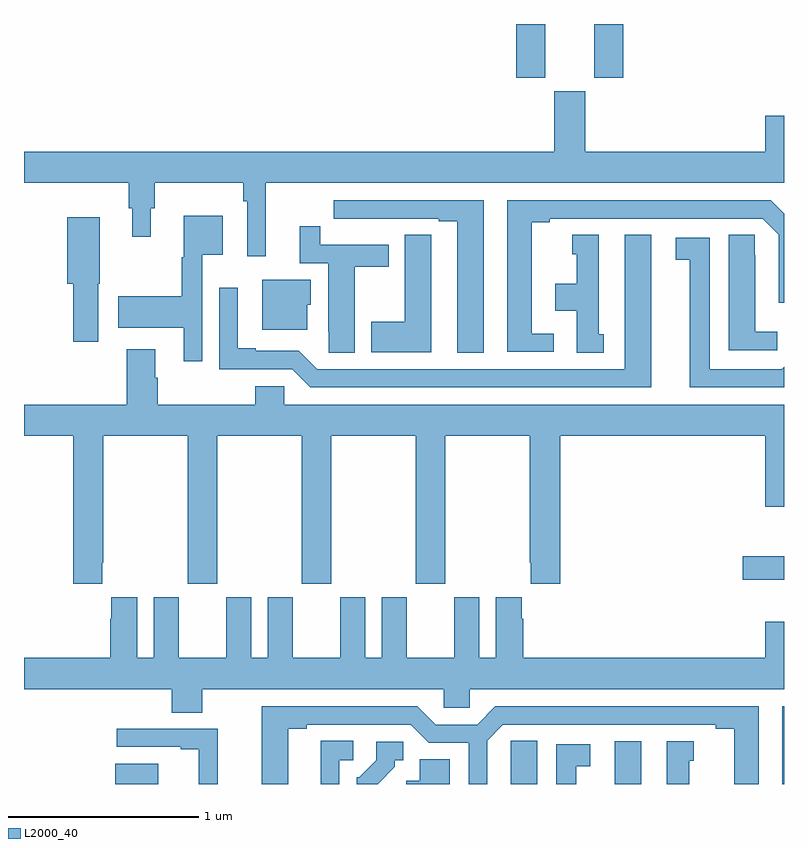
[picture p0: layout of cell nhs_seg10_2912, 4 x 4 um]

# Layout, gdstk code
import gdstk
lib = gdstk.Library(unit=1e-6, precision=1e-09)
def R(c, l, rs):  # rectangles x0, y0, x1, y1
    for r in rs: c.add(gdstk.rectangle(r[:2], r[2:], *l))
def P(c, l, *ps):  # polygons
    for p in ps: c.add(gdstk.Polygon(p, *l))
L2000_40 = (2000, 40)

nhs_seg10_2912 = lib.new_cell('nhs_seg10_2912')
R(nhs_seg10_2912, L2000_40, [(269.48,1282.5,269.707,1282.606), (272.108,1282.5,272.248,1282.726), (272.99,1282.5,273,1282.908), (272.784,1283.576,273,1283.698), (271.592,1286.217,271.744,1286.5), (272,1286.217,272.153,1286.5)])
P(nhs_seg10_2912, L2000_40, [(270.272,1285.664),(273,1285.664),(273,1286.017),(272.9,1286.017),(272.9,1285.828),(271.954,1285.828),(271.954,1286.145),(271.79,1286.145),(271.79,1285.828),(269,1285.828),(269,1285.664),(269.551,1285.664),(269.551,1285.53),(269.57,1285.53),(269.57,1285.38),(269.668,1285.38),(269.668,1285.53),(269.687,1285.53),(269.687,1285.664),(270.154,1285.664),(270.154,1285.568),(270.174,1285.568),(270.174,1285.278),(270.272,1285.278)],
  [(271.42,1285.572),(270.63,1285.572),(270.63,1285.476),(270.742,1285.476),(270.742,1285.475),(270.908,1285.475),(270.908,1285.476),(271.184,1285.476),(271.184,1285.461),(271.28,1285.461),(271.28,1284.769),(271.42,1284.769)],
  [(271.789,1284.87),(271.672,1284.87),(271.672,1285.456),(271.768,1285.456),(271.768,1285.476),(272.889,1285.476),(272.973,1285.392),(272.973,1285.032),(273,1285.032),(273,1285.501),(272.929,1285.572),(271.544,1285.572),(271.544,1284.774),(271.789,1284.774)],
  [(269.937,1285.286),(270.046,1285.286),(270.046,1285.492),(269.84,1285.492),(269.84,1285.272),(269.829,1285.272),(269.829,1285.068),(269.496,1285.068),(269.496,1284.902),(269.84,1284.902),(269.84,1284.726),(269.937,1284.726)],
  [(269.392,1285.134),(269.398,1285.134),(269.398,1285.483),(269.228,1285.483),(269.228,1285.134),(269.258,1285.134),(269.258,1284.828),(269.392,1284.828)],
  [(270.742,1285.222),(270.919,1285.222),(270.919,1285.338),(270.56,1285.338),(270.56,1285.435),(270.452,1285.435),(270.452,1285.242),(270.602,1285.242),(270.602,1284.88),(270.603,1284.88),(270.603,1284.769),(270.742,1284.769)],
  [(271.144,1285.283),(271.143,1285.283),(271.143,1285.391),(271.004,1285.391),(271.004,1284.933),(270.827,1284.933),(270.827,1284.773),(271.144,1284.773)],
  [(272.965,1284.88),(272.848,1284.88),(272.848,1285.283),(272.847,1285.283),(272.847,1285.391),(272.708,1285.391),(272.708,1284.783),(272.965,1284.783)],
  [(272.05,1284.867),(272.026,1284.867),(272.026,1285.39),(271.886,1285.39),(271.886,1285.287),(271.91,1285.287),(271.91,1285.132),(271.796,1285.132),(271.796,1284.992),(271.91,1284.992),(271.91,1284.769),(272.05,1284.769)],
  [(272.302,1285.39),(272.162,1285.39),(272.162,1284.684),(270.543,1284.684),(270.447,1284.78),(270.22,1284.78),(270.22,1284.793),(270.124,1284.793),(270.124,1285.111),(270.027,1285.111),(270.027,1284.684),(270.411,1284.684),(270.507,1284.588),(272.302,1284.588)],
  [(273,1284.696),(272.988,1284.684),(272.608,1284.684),(272.608,1285.374),(272.43,1285.374),(272.43,1285.258),(272.504,1285.258),(272.504,1284.588),(273,1284.588)],
  [(270.49,1285.023),(270.508,1285.023),(270.508,1285.153),(270.254,1285.153),(270.254,1284.89),(270.49,1284.89)],
  [(270.369,1284.594),(270.218,1284.594),(270.218,1284.496),(269.705,1284.496),(269.705,1284.638),(269.692,1284.638),(269.692,1284.787),(269.54,1284.787),(269.54,1284.496),(269,1284.496),(269,1284.332),(269.258,1284.332),(269.258,1283.553),(269.413,1283.553),(269.413,1283.665),(269.418,1283.665),(269.418,1284.332),(269.863,1284.332),(269.863,1283.553),(270.018,1283.553),(270.018,1284.332),(270.463,1284.332),(270.463,1283.553),(270.618,1283.553),(270.618,1284.332),(271.063,1284.332),(271.063,1283.553),(271.218,1283.553),(271.218,1284.332),(271.663,1284.332),(271.663,1283.665),(271.667,1283.665),(271.667,1283.553),(271.823,1283.553),(271.823,1284.332),(272.9,1284.332),(272.9,1283.958),(273,1283.958),(273,1284.496),(270.369,1284.496)],
  [(269.937,1283),(271.209,1283),(271.209,1282.902),(271.347,1282.902),(271.347,1283),(273,1283),(273,1283.353),(272.9,1283.353),(272.9,1283.164),(271.628,1283.164),(271.628,1283.369),(271.621,1283.369),(271.621,1283.482),(271.484,1283.482),(271.484,1283.164),(271.396,1283.164),(271.396,1283.482),(271.265,1283.482),(271.265,1283.164),(271.015,1283.164),(271.015,1283.482),(270.884,1283.482),(270.884,1283.164),(270.796,1283.164),(270.796,1283.482),(270.665,1283.482),(270.665,1283.164),(270.415,1283.164),(270.415,1283.482),(270.284,1283.482),(270.284,1283.164),(270.196,1283.164),(270.196,1283.482),(270.065,1283.482),(270.065,1283.164),(269.815,1283.164),(269.815,1283.482),(269.684,1283.482),(269.684,1283.164),(269.596,1283.164),(269.596,1283.482),(269.459,1283.482),(269.459,1283.369),(269.453,1283.369),(269.453,1283.164),(269,1283.164),(269,1283),(269.777,1283),(269.777,1282.876),(269.937,1282.876)],
  [(270.391,1282.792),(270.487,1282.792),(270.487,1282.812),(271.035,1282.812),(271.131,1282.716),(271.341,1282.716),(271.341,1282.5),(271.437,1282.5),(271.437,1282.728),(271.521,1282.812),(272.642,1282.812),(272.642,1282.792),(272.738,1282.792),(272.738,1282.5),(272.866,1282.5),(272.866,1282.908),(271.481,1282.908),(271.385,1282.812),(271.167,1282.812),(271.071,1282.908),(270.251,1282.908),(270.251,1282.5),(270.391,1282.5)],
  [(270.021,1282.791),(269.487,1282.791),(269.487,1282.695),(269.825,1282.695),(269.825,1282.683),(269.921,1282.683),(269.921,1282.5),(270.021,1282.5)],
  [(271.702,1282.727),(271.563,1282.727),(271.563,1282.619),(271.562,1282.619),(271.562,1282.5),(271.702,1282.5)],
  [(270.66,1282.626),(270.733,1282.626),(270.733,1282.727),(270.563,1282.727),(270.563,1282.5),(270.66,1282.5)],
  [(272.5,1282.623),(272.524,1282.623),(272.524,1282.726),(272.384,1282.726),(272.384,1282.5),(272.5,1282.5)],
  [(270.952,1282.591),(270.952,1282.626),(270.997,1282.626),(270.997,1282.722),(270.855,1282.722),(270.855,1282.626),(270.765,1282.536),(270.75,1282.536),(270.75,1282.5),(270.861,1282.5)],
  [(271.906,1282.594),(271.981,1282.594),(271.981,1282.71),(271.802,1282.71),(271.802,1282.5),(271.906,1282.5)],
  [(271.24,1282.631),(271.082,1282.631),(271.082,1282.516),(271.013,1282.516),(271.013,1282.5),(271.24,1282.5)])

lib.write_gds('nhs_seg10_2912.gds')
